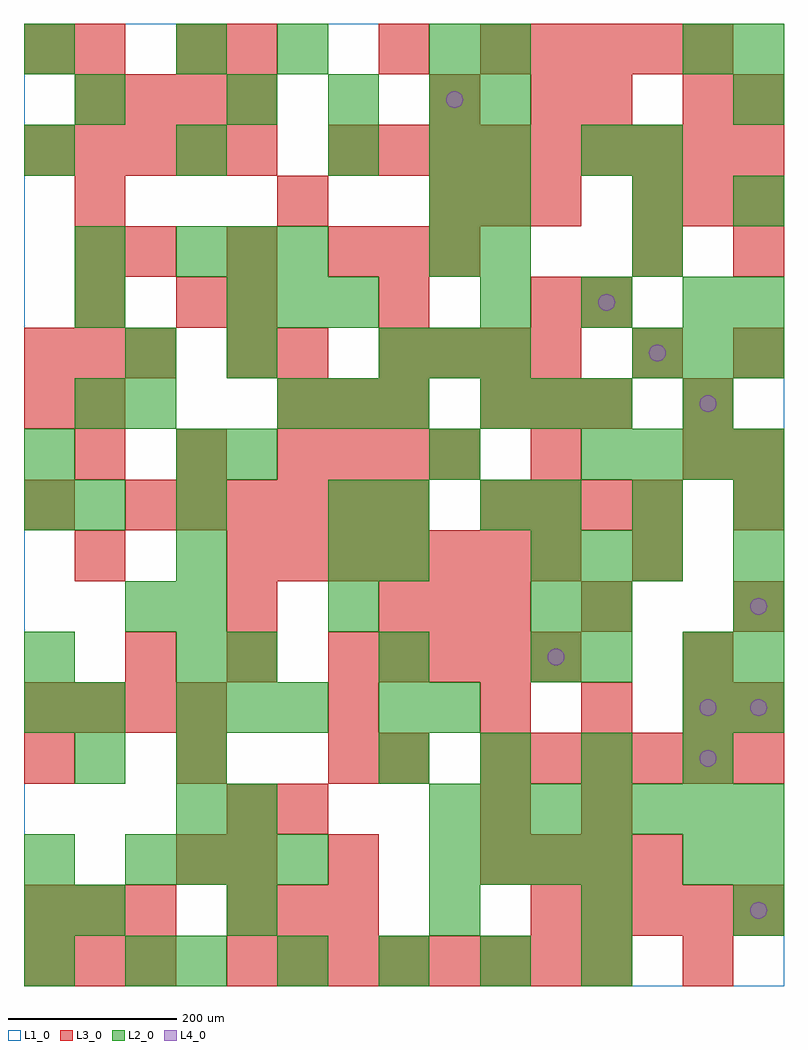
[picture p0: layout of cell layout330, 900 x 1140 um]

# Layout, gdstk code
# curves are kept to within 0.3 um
import gdstk
lib = gdstk.Library(unit=1e-6, precision=1e-09)
def R(c, l, rs):  # rectangles x0, y0, x1, y1
    for r in rs: c.add(gdstk.rectangle(r[:2], r[2:], *l))
def A(c, l, x, y, w, h, nx, ny, dx, dy):  # array of equal rectangles
    R(c, l, [(x+i*dx, y+j*dy, x+i*dx+w, y+j*dy+h) for i in range(nx) for j in range(ny)])
def P(c, l, *ps):  # polygons
    for p in ps: c.add(gdstk.Polygon(p, *l))
L1_0 = (1, 0)
L2_0 = (2, 0)
L3_0 = (3, 0)
L4_0 = (4, 0)

layout330 = lib.new_cell('layout330')
R(layout330, L1_0, [(0,0,900,1140)])
A(layout330, L2_0, 0, 0, 60, 60, 1, 3, 0, 60)
A(layout330, L2_0, 180, 0, 60, 60, 5, 1, 120, 0)
A(layout330, L2_0, 480, 60, 60, 60, 3, 1, 180, 0)
A(layout330, L2_0, 120, 120, 60, 60, 4, 1, 60, 0)
A(layout330, L2_0, 480, 120, 60, 60, 4, 1, 60, 0)
A(layout330, L2_0, 480, 180, 60, 60, 7, 1, 60, 0)
A(layout330, L2_0, 420, 240, 60, 60, 4, 1, 120, 0)
A(layout330, L2_0, 180, 300, 60, 60, 3, 2, 60, 540)
A(layout330, L2_0, 840, 300, 60, 60, 1, 4, 0, 60)
A(layout330, L2_0, 180, 360, 60, 60, 1, 5, 0, 60)
A(layout330, L2_0, 240, 360, 60, 60, 3, 1, 180, 0)
A(layout330, L2_0, 360, 420, 60, 60, 1, 3, 0, 60)
A(layout330, L2_0, 600, 480, 60, 60, 3, 1, 60, 0)
A(layout330, L2_0, 60, 540, 60, 60, 1, 3, 0, 120)
A(layout330, L2_0, 600, 540, 60, 60, 3, 1, 120, 0)
A(layout330, L2_0, 660, 600, 60, 60, 4, 1, 60, 0)
A(layout330, L2_0, 300, 660, 60, 60, 3, 1, 60, 0)
A(layout330, L2_0, 540, 660, 60, 60, 3, 1, 60, 0)
A(layout330, L2_0, 420, 720, 60, 60, 3, 1, 60, 0)
A(layout330, L2_0, 720, 720, 60, 60, 3, 1, 60, 0)
A(layout330, L2_0, 240, 780, 60, 60, 3, 1, 60, 0)
A(layout330, L2_0, 540, 780, 60, 60, 3, 1, 120, 0)
A(layout330, L2_0, 840, 780, 60, 60, 1, 3, 0, 120)
A(layout330, L2_0, 480, 840, 60, 60, 1, 3, 0, 60)
A(layout330, L2_0, 540, 840, 60, 60, 1, 5, 0, 60)
A(layout330, L2_0, 720, 840, 60, 60, 1, 3, 0, 60)
A(layout330, L2_0, 0, 960, 60, 60, 3, 1, 180, 0)
A(layout330, L2_0, 240, 1020, 60, 60, 3, 1, 120, 0)
R(layout330, L2_0, [(120,0,180,60), (60,60,120,120), (240,60,300,120), (780,120,840,180), (840,120,900,180), (180,180,240,240), (240,180,300,240), (60,240,120,300), (180,240,240,300), (0,300,60,360), (60,300,120,360), (420,300,480,360), (480,300,540,360), (780,300,840,360), (0,360,60,420), (660,360,720,420), (780,360,840,420), (120,420,180,480), (600,420,660,480), (660,420,720,480), (420,480,480,540), (0,540,60,600), (420,540,480,600), (540,540,600,600), (0,600,60,660), (240,600,300,660), (480,600,540,660), (120,660,180,720), (780,660,840,720), (120,720,180,780), (240,720,300,780), (60,840,120,900), (660,960,720,1020), (60,1020,120,1080), (0,1080,60,1140), (180,1080,240,1140), (300,1080,360,1140), (480,1080,540,1140), (780,1080,840,1140), (840,1080,900,1140)])
A(layout330, L3_0, 0, 0, 60, 60, 3, 2, 60, 60)
A(layout330, L3_0, 240, 0, 60, 60, 8, 1, 60, 0)
A(layout330, L3_0, 240, 60, 60, 60, 3, 1, 60, 0)
A(layout330, L3_0, 600, 60, 60, 60, 5, 1, 60, 0)
A(layout330, L3_0, 540, 120, 60, 60, 4, 2, 60, 420)
A(layout330, L3_0, 0, 240, 60, 60, 3, 1, 180, 0)
A(layout330, L3_0, 540, 240, 60, 60, 6, 1, 60, 0)
A(layout330, L3_0, 0, 300, 60, 60, 4, 1, 60, 0)
A(layout330, L3_0, 540, 300, 60, 60, 3, 1, 120, 0)
A(layout330, L3_0, 840, 300, 60, 60, 1, 3, 0, 120)
A(layout330, L3_0, 120, 360, 60, 60, 3, 2, 120, 480)
A(layout330, L3_0, 420, 360, 60, 60, 4, 2, 60, 360)
A(layout330, L3_0, 420, 420, 60, 60, 3, 1, 60, 0)
A(layout330, L3_0, 240, 480, 60, 60, 7, 1, 60, 0)
A(layout330, L3_0, 120, 540, 60, 60, 6, 1, 60, 0)
A(layout330, L3_0, 60, 600, 60, 60, 3, 1, 120, 0)
A(layout330, L3_0, 360, 600, 60, 60, 3, 1, 60, 0)
A(layout330, L3_0, 840, 600, 60, 60, 1, 3, 0, 120)
A(layout330, L3_0, 300, 660, 60, 60, 3, 1, 60, 0)
A(layout330, L3_0, 540, 660, 60, 60, 3, 1, 60, 0)
A(layout330, L3_0, 0, 720, 60, 60, 3, 1, 60, 0)
A(layout330, L3_0, 60, 780, 60, 60, 1, 3, 0, 60)
A(layout330, L3_0, 240, 780, 60, 60, 3, 1, 180, 0)
A(layout330, L3_0, 480, 900, 60, 60, 3, 1, 60, 0)
A(layout330, L3_0, 720, 900, 60, 60, 3, 1, 60, 0)
A(layout330, L3_0, 0, 960, 60, 60, 5, 1, 60, 0)
A(layout330, L3_0, 360, 960, 60, 60, 9, 1, 60, 0)
A(layout330, L3_0, 60, 1020, 60, 60, 4, 1, 60, 0)
A(layout330, L3_0, 540, 1080, 60, 60, 5, 1, 60, 0)
R(layout330, L3_0, [(780,0,840,60), (180,120,240,180), (240,120,300,180), (360,120,420,180), (240,180,300,240), (300,180,360,240), (540,180,600,240), (660,180,720,240), (420,240,480,300), (360,300,420,360), (780,360,840,420), (240,420,300,480), (660,420,720,480), (60,480,120,540), (720,480,780,540), (0,540,60,600), (600,600,660,660), (780,600,840,660), (0,660,60,720), (60,660,120,720), (780,660,840,720), (240,720,300,780), (300,720,360,780), (720,720,780,780), (180,780,240,840), (660,780,720,840), (420,840,480,900), (480,840,540,900), (720,840,780,900), (300,900,360,960), (480,1020,540,1080), (600,1020,660,1080), (660,1020,720,1080), (780,1020,840,1080), (840,1020,900,1080), (0,1080,60,1140), (60,1080,120,1140), (180,1080,240,1140), (240,1080,300,1140), (420,1080,480,1140)])
P(layout330, L4_0, [(520,1050),(519.239,1053.827),(517.071,1057.071),(513.827,1059.239),(510,1060),(506.173,1059.239),(502.929,1057.071),(500.761,1053.827),(500,1050),(500.761,1046.173),(502.929,1042.929),(506.173,1040.761),(510,1040),(513.827,1040.761),(517.071,1042.929),(519.239,1046.173)],
  [(640,390),(639.239,393.827),(637.071,397.071),(633.827,399.239),(630,400),(626.173,399.239),(622.929,397.071),(620.761,393.827),(620,390),(620.761,386.173),(622.929,382.929),(626.173,380.761),(630,380),(633.827,380.761),(637.071,382.929),(639.239,386.173)],
  [(700,810),(699.239,813.827),(697.071,817.071),(693.827,819.239),(690,820),(686.173,819.239),(682.929,817.071),(680.761,813.827),(680,810),(680.761,806.173),(682.929,802.929),(686.173,800.761),(690,800),(693.827,800.761),(697.071,802.929),(699.239,806.173)],
  [(760,750),(759.239,753.827),(757.071,757.071),(753.827,759.239),(750,760),(746.173,759.239),(742.929,757.071),(740.761,753.827),(740,750),(740.761,746.173),(742.929,742.929),(746.173,740.761),(750,740),(753.827,740.761),(757.071,742.929),(759.239,746.173)],
  [(820,270),(819.239,273.827),(817.071,277.071),(813.827,279.239),(810,280),(806.173,279.239),(802.929,277.071),(800.761,273.827),(800,270),(800.761,266.173),(802.929,262.929),(806.173,260.761),(810,260),(813.827,260.761),(817.071,262.929),(819.239,266.173)],
  [(820,330),(819.239,333.827),(817.071,337.071),(813.827,339.239),(810,340),(806.173,339.239),(802.929,337.071),(800.761,333.827),(800,330),(800.761,326.173),(802.929,322.929),(806.173,320.761),(810,320),(813.827,320.761),(817.071,322.929),(819.239,326.173)],
  [(820,690),(819.239,693.827),(817.071,697.071),(813.827,699.239),(810,700),(806.173,699.239),(802.929,697.071),(800.761,693.827),(800,690),(800.761,686.173),(802.929,682.929),(806.173,680.761),(810,680),(813.827,680.761),(817.071,682.929),(819.239,686.173)],
  [(880,90),(879.239,93.827),(877.071,97.071),(873.827,99.239),(870,100),(866.173,99.239),(862.929,97.071),(860.761,93.827),(860,90),(860.761,86.173),(862.929,82.929),(866.173,80.761),(870,80),(873.827,80.761),(877.071,82.929),(879.239,86.173)],
  [(880,330),(879.239,333.827),(877.071,337.071),(873.827,339.239),(870,340),(866.173,339.239),(862.929,337.071),(860.761,333.827),(860,330),(860.761,326.173),(862.929,322.929),(866.173,320.761),(870,320),(873.827,320.761),(877.071,322.929),(879.239,326.173)],
  [(880,450),(879.239,453.827),(877.071,457.071),(873.827,459.239),(870,460),(866.173,459.239),(862.929,457.071),(860.761,453.827),(860,450),(860.761,446.173),(862.929,442.929),(866.173,440.761),(870,440),(873.827,440.761),(877.071,442.929),(879.239,446.173)])

lib.write_gds('layout330.gds')
